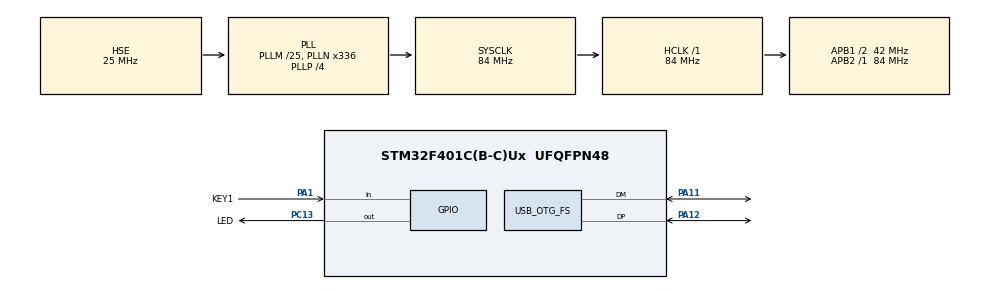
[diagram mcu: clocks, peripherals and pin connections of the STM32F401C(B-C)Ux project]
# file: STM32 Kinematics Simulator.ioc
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Mcu.Family=STM32F4
Mcu.Name=STM32F401C(B-C)Ux
Mcu.Package=UFQFPN48
NVIC.OTG_FS_IRQn=true\:0\:0\:false\:false\:true\:true\:true\:true
NVIC.PriorityGroup=NVIC_PRIORITYGROUP_4
PA1.GPIO_Label=KEY1
PA1.GPIO_PuPd=GPIO_PULLUP
PA1.Signal=GPIO_Input
PA11.Mode=Device_Only
PA11.Signal=USB_OTG_FS_DM
PA12.Mode=Device_Only
PA12.Signal=USB_OTG_FS_DP
PA13.Mode=Serial_Wire
PA13.Signal=SYS_JTMS-SWDIO
PA14.Mode=Serial_Wire
PA14.Signal=SYS_JTCK-SWCLK
PC13-ANTI_TAMP.GPIO_Label=LED
PC13-ANTI_TAMP.Signal=GPIO_Output
PH0\ -\ OSC_IN.Mode=HSE-External-Oscillator
PH0\ -\ OSC_IN.Signal=RCC_OSC_IN
PH1\ -\ OSC_OUT.Mode=HSE-External-Oscillator
PH1\ -\ OSC_OUT.Signal=RCC_OSC_OUT
ProjectManager.HeapSize=0x200
ProjectManager.StackSize=0x400
ProjectManager.TargetToolchain=MDK-ARM V5.32
RCC.48MHZClocksFreq_Value=48000000
RCC.AHBFreq_Value=84000000
RCC.APB1CLKDivider=RCC_HCLK_DIV2
RCC.APB1Freq_Value=42000000
RCC.APB1TimFreq_Value=84000000
RCC.APB2Freq_Value=84000000
RCC.APB2TimFreq_Value=84000000
RCC.CortexFreq_Value=84000000
RCC.EnbaleCSS=true
RCC.HCLKFreq_Value=84000000
RCC.HSE_VALUE=25000000
RCC.HSI_VALUE=16000000
RCC.LSE_VALUE=32768
RCC.PLLM=25
RCC.PLLN=336
RCC.PLLP=RCC_PLLP_DIV4
RCC.PLLQ=7
RCC.SYSCLKFreq_VALUE=84000000
RCC.SYSCLKSource=RCC_SYSCLKSOURCE_PLLCLK
RCC.VCOOutputFreq_Value=336000000
USB_DEVICE.CLASS_NAME_FS=CDC
USB_DEVICE.PRODUCT_STRING_CDC_FS=STM32 MCU
USB_DEVICE.VirtualMode=Cdc
USB_DEVICE.VirtualModeFS=Cdc_FS
USB_OTG_FS.VirtualMode=Device_Only
VP_USB_DEVICE_VS_USB_DEVICE_CDC_FS.Mode=CDC_FS
board=custom

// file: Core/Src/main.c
/* USER CODE BEGIN Header */
/**
  ******************************************************************************
  * @file           : main.c
  * @brief          : Main program body
  ******************************************************************************
  * @attention
  *
  * Copyright (c) 2025 STMicroelectronics.
  * All rights reserved.
  *
  * This software is licensed under terms that can be found in the LICENSE file
  * in the root directory of this software component.
  * If no LICENSE file comes with this software, it is provided AS-IS.
  *
  ******************************************************************************
  */
/* USER CODE END Header */
#include "main.h"
#include "usb_device.h"

/* USER CODE BEGIN Includes */
#include "usbd_cdc_if.h"
#include "ArmRobot_Math.h"
#include "stdio.h"
/* USER CODE END Includes */

/* USER CODE BEGIN PTD */

// Data command  typedef
typedef enum{
	NO_CMD,
	CALC_FK,
	FK_RESULT,
	CALC_IK,
	IK_RESULT,
	CONNECT_DEVICES,
}Data_Command;

// Data frame typedef
typedef struct{
	uint8_t header1;
	uint8_t header2;

	Data_Command cmd;

	uint8_t payload_data[24];
}Data_Frame;

// Kinematics typedef
Kinematics_t kinematics;

/* USER CODE END PTD */

/* USER CODE BEGIN PD */

#define HEADER1 0xFF
#define HEADER2 0XAA

#define JOINT_NUM 6

/* USER CODE END PD */

/* USER CODE BEGIN PV */

//--- Text Buffer Variable ---//
char
connected_text[] = "Device Connected \r\n";

//--- Data Buffer ---//
uint8_t
tx_buff[32],
rx_buff[64];

//--- Timer Variable ---//
unsigned long
msgGet_timer;

//--- DH Parameter ---//
float
joint_d[JOINT_NUM] = {
	191.0f, 0.0f, 0.0f,
	575.0f, 0.0f, 65.0f,
},

joint_a[JOINT_NUM] = {
	23.5f, 650.0f, 0.0f,
	0.0f, 0.0f, 0.0f,
},

joint_alpha[JOINT_NUM] = {
	-90.0f, 0.0f, 90.0f,
	-90.0f, 90.0f, 0.0f,
};

//--- Kinematics Variable ---//
float
input_angle[JOINT_NUM],
input_pos[JOINT_NUM],
output_angle[JOINT_NUM],
output_pos[JOINT_NUM];

uint8_t payload[24];

/* USER CODE END PV */

void SystemClock_Config(void);
static void MX_GPIO_Init(void);
/* USER CODE BEGIN PFP */

void receive_data(void);
bool send_data(uint8_t *data_buffer, uint16_t len);
void reset_buffer(void);

/* USER CODE END PFP */

/* USER CODE BEGIN 0 */

Data_Frame received_data;

/* USER CODE END 0 */

int main(void)
{

  /* MCU Configuration--------------------------------------------------------*/

  /* Reset of all peripherals, Initializes the Flash interface and the Systick. */
  HAL_Init();

  /* Configure the system clock */
  SystemClock_Config();

  /* Initialize all configured peripherals */
  MX_GPIO_Init();
  MX_USB_DEVICE_Init();
  /* USER CODE BEGIN 2 */

	// Turn LED On
	HAL_GPIO_WritePin(LED_GPIO_Port, LED_Pin, GPIO_PIN_RESET);

	// Kinematics Init
	DHparam_init(&kinematics, joint_d, joint_a, joint_alpha);
	toolframe_init(&kinematics, 0.0f, 0.0f, 0.0f, 0.0f, 0.0f, 0.0f);
	forward_transform_matrix(&kinematics);
	calculate_all_link(&kinematics);

	/* USER CODE END 2 */

  /* Infinite loop */
  /* USER CODE BEGIN WHILE */
  while (1)
  {
		// Receive data from pc
		receive_data();

		// Check connect devices command
		if(received_data.cmd == CONNECT_DEVICES){
			tx_buff[0] = HEADER1;
			tx_buff[1] = HEADER2;
			tx_buff[2] = CONNECT_DEVICES;

			memcpy(&tx_buff[3], &connected_text, strlen(connected_text));

			while(!send_data(tx_buff, sizeof(tx_buff)));

			HAL_GPIO_WritePin(LED_GPIO_Port, LED_Pin, GPIO_PIN_SET);
			HAL_Delay(100);
			HAL_GPIO_WritePin(LED_GPIO_Port, LED_Pin, GPIO_PIN_RESET);
			HAL_Delay(100);

			reset_buffer();
		}

		// Check calc fk command
		else if(received_data.cmd == CALC_FK){
			for(int i=0; i<JOINT_NUM; i++){
				memcpy(&input_angle[i], &received_data.payload_data[i*4], sizeof(float));
			}

			run_forward_kinematic(&kinematics, input_angle);

			tx_buff[0] = HEADER1;
			tx_buff[1] = HEADER2;
			tx_buff[2] = FK_RESULT;

			float tool_pos[6];

			for(int i=0; i<JOINT_NUM; i++){
				if(i<3) tool_pos[i] = kinematics.axis_pos_out[i];
				else tool_pos[i] = kinematics.axis_rot_out[i-3];

				memcpy(&payload[i*4], &tool_pos[i], sizeof(float));
			}

			for(int i=0; i<sizeof(payload); i++){
				tx_buff[i+3] = payload[i];
			}

			while(!send_data(tx_buff, sizeof(tx_buff)));

			reset_buffer();
		}

		// Check calc ik command
		else if(received_data.cmd == CALC_IK){
			for(int i=0; i<JOINT_NUM; i++){
				memcpy(&input_pos[i], &received_data.payload_data[i*4], sizeof(float));
			}

			kinematics.j5_enc_angle = input_angle[4];
			run_inverse_kinematic(&kinematics, input_pos);

			tx_buff[0] = HEADER1;
			tx_buff[1] = HEADER2;
			tx_buff[2] = IK_RESULT;

			for(int i=0; i<JOINT_NUM; i++){
				memcpy(&payload[i*4], &kinematics.joint_ang_out[i], sizeof(float));
			}

			for(int i=0; i<sizeof(payload); i++){
				tx_buff[i+3] = payload[i];
			}

			while(!send_data(tx_buff, sizeof(tx_buff)));

			reset_buffer();
		}
    /* USER CODE END WHILE */

  }
}

void SystemClock_Config(void)
{
  RCC_OscInitTypeDef RCC_OscInitStruct = {0};
  RCC_ClkInitTypeDef RCC_ClkInitStruct = {0};

  /** Configure the main internal regulator output voltage
  */
  __HAL_RCC_PWR_CLK_ENABLE();
  __HAL_PWR_VOLTAGESCALING_CONFIG(PWR_REGULATOR_VOLTAGE_SCALE2);

  /** Initializes the RCC Oscillators according to the specified parameters
  * in the RCC_OscInitTypeDef structure.
  */
  RCC_OscInitStruct.OscillatorType = RCC_OSCILLATORTYPE_HSE;
  RCC_OscInitStruct.HSEState = RCC_HSE_ON;
  RCC_OscInitStruct.PLL.PLLState = RCC_PLL_ON;
  RCC_OscInitStruct.PLL.PLLSource = RCC_PLLSOURCE_HSE;
  RCC_OscInitStruct.PLL.PLLM = 25;
  RCC_OscInitStruct.PLL.PLLN = 336;
  RCC_OscInitStruct.PLL.PLLP = RCC_PLLP_DIV4;
  RCC_OscInitStruct.PLL.PLLQ = 7;
  if (HAL_RCC_OscConfig(&RCC_OscInitStruct) != HAL_OK)
  {
    Error_Handler();
  }

  /** Initializes the CPU, AHB and APB buses clocks
  */
  RCC_ClkInitStruct.ClockType = RCC_CLOCKTYPE_HCLK|RCC_CLOCKTYPE_SYSCLK
                              |RCC_CLOCKTYPE_PCLK1|RCC_CLOCKTYPE_PCLK2;
  RCC_ClkInitStruct.SYSCLKSource = RCC_SYSCLKSOURCE_PLLCLK;
  RCC_ClkInitStruct.AHBCLKDivider = RCC_SYSCLK_DIV1;
  RCC_ClkInitStruct.APB1CLKDivider = RCC_HCLK_DIV2;
  RCC_ClkInitStruct.APB2CLKDivider = RCC_HCLK_DIV1;

  if (HAL_RCC_ClockConfig(&RCC_ClkInitStruct, FLASH_LATENCY_2) != HAL_OK)
  {
    Error_Handler();
  }

  /** Enables the Clock Security System
  */
  HAL_RCC_EnableCSS();
}

static void MX_GPIO_Init(void)
{
  GPIO_InitTypeDef GPIO_InitStruct = {0};

  /* GPIO Ports Clock Enable */
  __HAL_RCC_GPIOC_CLK_ENABLE();
  __HAL_RCC_GPIOH_CLK_ENABLE();
  __HAL_RCC_GPIOA_CLK_ENABLE();

  /*Configure GPIO pin Output Level */
  HAL_GPIO_WritePin(LED_GPIO_Port, LED_Pin, GPIO_PIN_RESET);

  /*Configure GPIO pin : LED_Pin */
  GPIO_InitStruct.Pin = LED_Pin;
  GPIO_InitStruct.Mode = GPIO_MODE_OUTPUT_PP;
  GPIO_InitStruct.Pull = GPIO_NOPULL;
  GPIO_InitStruct.Speed = GPIO_SPEED_FREQ_LOW;
  HAL_GPIO_Init(LED_GPIO_Port, &GPIO_InitStruct);

  /*Configure GPIO pin : KEY1_Pin */
  GPIO_InitStruct.Pin = KEY1_Pin;
  GPIO_InitStruct.Mode = GPIO_MODE_INPUT;
  GPIO_InitStruct.Pull = GPIO_PULLUP;
  HAL_GPIO_Init(KEY1_GPIO_Port, &GPIO_InitStruct);

}

/* USER CODE BEGIN 4 */

/*--- RECEIVE DATA FUNCTION ---*/
void receive_data(void){
	// Process Data Buffer
	for(int i=0; i<sizeof(rx_buff); i++){
		if(rx_buff[i] == HEADER1 && rx_buff[i+1] == HEADER2){
			received_data.header1 = rx_buff[i];
			received_data.header2 = rx_buff[i+1];

			received_data.cmd = (Data_Command)rx_buff[i+2];

			for(int j=0; j<29; j++){
				received_data.payload_data[j] = rx_buff[j+3];
			}
			break;
		}
		else continue;
	}
}

/*--- SEND DATA FUNCTION ---*/
bool send_data(uint8_t *data_buffer, uint16_t len){
	if(CDC_Transmit_FS(data_buffer, len) == USBD_OK) return true;
	return false;
}

/*--- RESET BUFFER FUNCTION ---*/
void reset_buffer(void){
	received_data.header1 = 0x00;
	received_data.header2 = 0x00;
	received_data.cmd = NO_CMD;

	for(int i=0; i<28; i++){
		received_data.payload_data[i] = 0x00;
	}

	for(int i=0; i<sizeof(rx_buff); i++){
		rx_buff[i] = 0x00;
	}
}

/* USER CODE END 4 */

void Error_Handler(void)
{
  __disable_irq();
  while (1)
  {
  }
}
